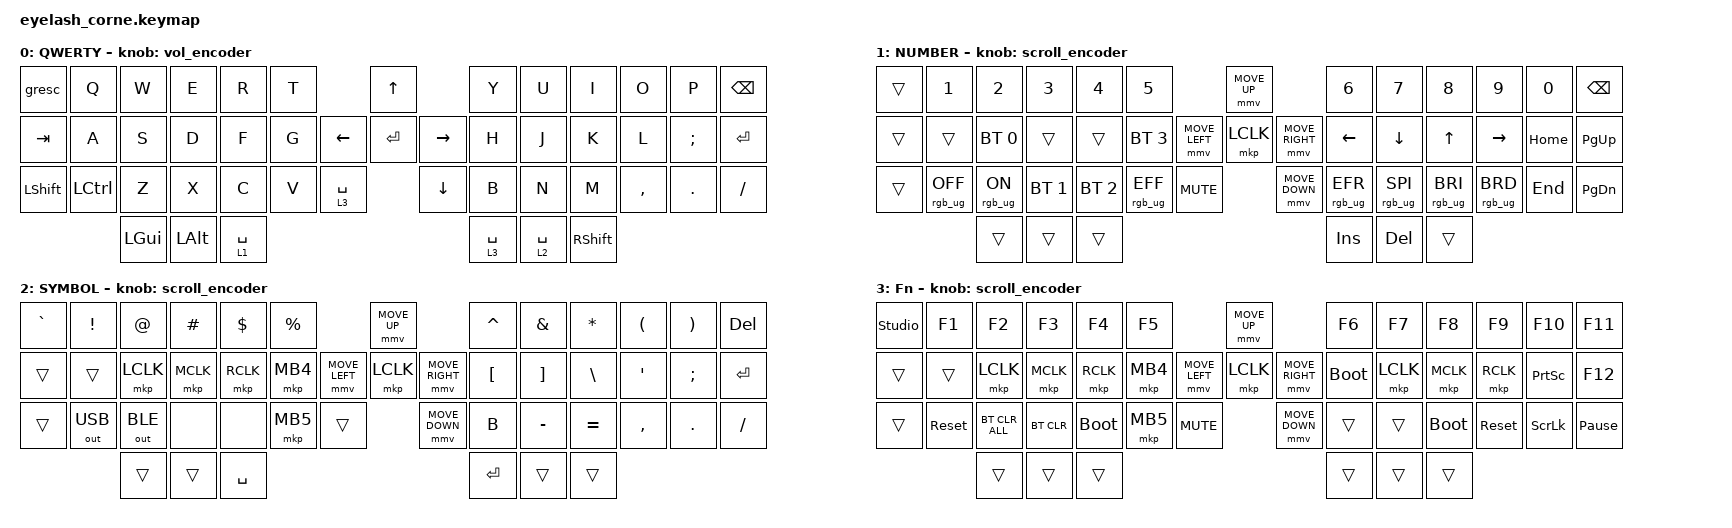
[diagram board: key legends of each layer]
#define ZMK_POINTING_DEFAULT_MOVE_VAL 1200  // 600
#define ZMK_POINTING_DEFAULT_SCRL_VAL 25   // 10

#include <input/processors.dtsi>
#include <zephyr/dt-bindings/input/input-event-codes.h>
#include <behaviors.dtsi>
#include <dt-bindings/zmk/bt.h>
#include <dt-bindings/zmk/keys.h>
#include <dt-bindings/zmk/outputs.h>
#include <dt-bindings/zmk/pointing.h>
#include <dt-bindings/zmk/rgb.h>
#include <dt-bindings/zmk/behaviors.h>

&mmv_input_listener { input-processors = <&zip_xy_scaler 2 1>; };

&msc_input_listener { input-processors = <&zip_scroll_scaler 2 1>; };

&msc {
    acceleration-exponent = <1>;      // 0
    time-to-max-speed-ms = <100>;       // 300
    delay-ms = <0>;                   // 0
};

&mmv {
    time-to-max-speed-ms = <500>;
    acceleration-exponent = <1>;
    trigger-period-ms = <16>;
};

&soft_off { hold-time-ms = <2000>; };

/ {
    behaviors {
        my_lt: layer_tap {
            compatible = "zmk,behavior-hold-tap";
            #binding-cells = <2>;
            flavor = "balanced";
            tapping-term-ms = <200>;
            bindings = <&mo>, <&kp>;
            display-name = "Layer-Tap";
        };
        td0: td0 {
            compatible = "zmk,behavior-tap-dance";
            display-name = "Shift/Caps Lock Tap Dance";
            #binding-cells = <0>;
            bindings = <&kp LEFT_SHIFT>, <&kp CAPS>;
        };
        gresc: grave_escape {
            compatible = "zmk,behavior-mod-morph";
            #binding-cells = <0>;
            bindings = <&kp ESC>, <&kp GRAVE>;
            mods = <(MOD_LGUI|MOD_LSFT|MOD_RGUI|MOD_RSFT)>;
        };
    };

    rgb_encoder: rgb_encoder {
        compatible = "zmk,behavior-sensor-rotate";
        #sensor-binding-cells = <0>;
        bindings = <&rgb_ug RGB_BRI>, <&rgb_ug RGB_BRD>;
    };
    scrl_dn_mm: scroll_down_mod_morph {
        compatible = "zmk,behavior-mod-morph";
        #binding-cells = <0>;
        bindings = <&msc SCRL_DOWN>, <&msc SCRL_RIGHT>;
        mods = <(MOD_LALT|MOD_RALT)>;
    };

    scrl_up_mm: scroll_up_mod_morph {
        compatible = "zmk,behavior-mod-morph";
        #binding-cells = <0>;
        bindings = <&msc SCRL_UP>, <&msc SCRL_LEFT>;
        mods = <(MOD_LALT|MOD_RALT)>;
    };

    scroll_encoder: scroll_encoder {
        compatible = "zmk,behavior-sensor-rotate";
        #sensor-binding-cells = <0>;
        // Use the mod-morphs instead of direct scroll bindings
        bindings = <&scrl_dn_mm>, <&scrl_up_mm>;
        tap-ms = <100>;
    };
    vol_up_mm: volume_up_mod_morph {
        compatible = "zmk,behavior-mod-morph";
        #binding-cells = <0>;
        bindings = <&kp C_VOLUME_UP>, <&kp RIGHT>;
        mods = <(MOD_LALT|MOD_RALT)>;
    };

    vol_dn_mm: volume_down_mod_morph {
        compatible = "zmk,behavior-mod-morph";
        #binding-cells = <0>;
        bindings = <&kp C_VOLUME_DOWN>, <&kp LEFT>;
        mods = <(MOD_LALT|MOD_RALT)>;
    };
    vol_encoder: vol_encoder {
        compatible = "zmk,behavior-sensor-rotate";
        #sensor-binding-cells = <0>;
        bindings = <&vol_up_mm>, <&vol_dn_mm>;
    };
    combos {
        compatible = "zmk,combos";

        softoff {
            bindings = <&soft_off>;
            key-positions = <1 15 29>;
        };
    };

    keymap {
        compatible = "zmk,keymap";

        default_layer {
            display-name = "QWERTY";
            bindings = <
&gresc     &kp Q      &kp W  &kp E     &kp R        &kp T                              &kp UP                &kp Y        &kp U        &kp I      &kp O     &kp P     &kp BSPC
&kp TAB    &kp A      &kp S  &kp D     &kp F        &kp G                    &kp LEFT  &kp ENTER  &kp RIGHT  &kp H        &kp J        &kp K      &kp L     &kp SEMI  &kp ENTER
&kp LSHFT  &kp LCTRL  &kp Z  &kp X     &kp C        &kp V       &lt 3 SPACE            &kp DOWN              &kp B        &kp N        &kp M      &kp COMMA &kp DOT   &kp FSLH
                         &kp LGUI  &kp LALT  &lt 1 SPACE                                                  &lt 3 SPACE  &my_lt 2 SPACE  &kp RIGHT_SHIFT
            >;

            sensor-bindings = <&vol_encoder>;
        };

        lower_layer {
            display-name = "NUMBER";
            bindings = <
&trans  &kp N1           &kp N2          &kp N3        &kp N4        &kp N5                                         &mmv MOVE_UP                     &kp N6           &kp N7           &kp N8           &kp N9           &kp N0    &kp BSPC
&trans  &trans           &bt BT_SEL 0    &trans        &trans        &bt BT_SEL 3                   &mmv MOVE_LEFT  &mkp LCLK       &mmv MOVE_RIGHT  &kp LEFT         &kp DOWN         &kp UP           &kp RIGHT        &kp HOME  &kp PG_UP
&trans  &rgb_ug RGB_OFF  &rgb_ug RGB_ON  &bt BT_SEL 1  &bt BT_SEL 2  &rgb_ug RGB_EFF  &kp C_MUTE                    &mmv MOVE_DOWN                   &rgb_ug RGB_EFR  &rgb_ug RGB_SPI  &rgb_ug RGB_BRI  &rgb_ug RGB_BRD  &kp END   &kp PG_DN
                                         &trans        &trans        &trans                                                                                           &kp INS          &kp DEL          &trans
            >;

            sensor-bindings = <&scroll_encoder>;
        };

        raise_layer {
            display-name = "SYMBOL";
            bindings = <
&kp GRAVE  &kp EXCL    &kp AT        &kp HASH   &kp DLLR   &kp PRCNT                                      &mmv MOVE_UP                     &kp CARET  &kp AMPS   &kp ASTRK  &kp LPAR  &kp RPAR  &kp DEL
&trans     &trans      &mkp LCLK     &mkp MCLK  &mkp RCLK  &mkp MB4                       &mmv MOVE_LEFT  &mkp LCLK       &mmv MOVE_RIGHT  &kp LBKT   &kp RBKT   &kp BSLH   &kp SQT   &kp SEMI  &kp ENTER
&trans     &out OUT_USB &out OUT_BLE &none      &none      &mkp MB5   &trans                              &mmv MOVE_DOWN                   &kp B      &kp MINUS  &kp EQUAL  &kp COMMA &kp DOT   &kp FSLH
                                     &trans     &trans     &kp SPACE                                                                                  &kp RET    &trans     &trans
            >;

            sensor-bindings = <&scroll_encoder>;
        };

        layer_3 {
            display-name = "Fn";
            bindings = <
&studio_unlock  &kp F1      &kp F2          &kp F3       &kp F4       &kp F5                                         &mmv MOVE_UP                     &kp F6       &kp F7     &kp F8       &kp F9      &kp F10          &kp F11
&trans          &trans      &mkp LCLK       &mkp MCLK    &mkp RCLK    &mkp MB4                       &mmv MOVE_LEFT  &mkp LCLK       &mmv MOVE_RIGHT  &bootloader  &mkp LCLK  &mkp MCLK    &mkp RCLK   &kp PRINTSCREEN  &kp F12
&trans          &sys_reset  &bt BT_CLR_ALL  &bt BT_CLR   &bootloader  &mkp MB5  &kp C_MUTE                           &mmv MOVE_DOWN                   &trans       &trans     &bootloader  &sys_reset  &kp SCROLLLOCK   &kp PAUSE_BREAK
                                            &trans       &trans       &trans                                                                                       &trans     &trans       &trans
            >;

            sensor-bindings = <&scroll_encoder>;
        };
    };
};
